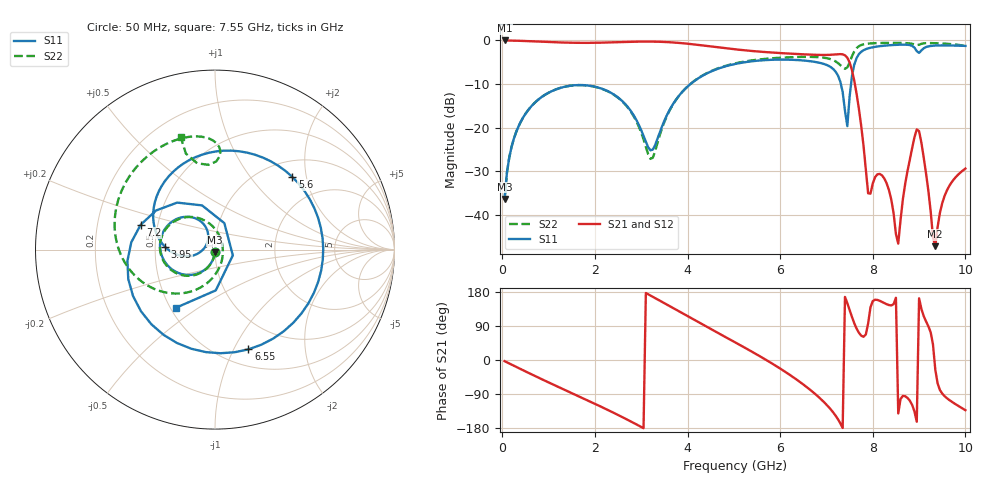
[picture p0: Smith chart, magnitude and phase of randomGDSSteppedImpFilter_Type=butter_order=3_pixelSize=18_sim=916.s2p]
! freq	dB(S11)	phase(S11)	dB(S12)	phase(S12)
!  dB(S21)	phase(S21)	dB(S22)	phase(S22)
!S-par simulation data
#  GHz  S  DB  R 50
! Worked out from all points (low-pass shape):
!   200 points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, 50 MHz to 10 GHz, reference 50 ohm
!   highest |S21| = -0.01 dB at 50 MHz (marker M1); lowest = -47.1 dB at 9.35 GHz (marker M2)
!   |S21| within 3 dB of the highest: start of sweep to 6.186 GHz
!   lowest |S11| = -36.3 dB at 50 MHz (marker M3), VSWR 1.03, Z = 49.9 - j1.53 ohm
!   |S11| at or under -10 dB: start of sweep to 4.062 GHz; 7.311 GHz to 7.531 GHz (219.4 MHz wide, 2.96 % of centre)
!   |S22| runs from -36.3 to -0.6 dB; largest |S21 - S12| = 0
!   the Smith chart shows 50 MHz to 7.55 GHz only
!   S11 on the Smith chart (normalised r, x): 50 MHz: 1.00, -0.03; 3.95 GHz: 0.56, +0.02; 5.6 GHz: 1.34, +1.66; 6.55 GHz: 0.68, -1.14; 7.2 GHz: 0.40, +0.14; 7.55 GHz: 0.54, -0.41
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0.05  -36.30 -92.9  -0.01 -3.1  -0.01 -3.1  -36.29 -92.7
0.5  -16.81 -121.2  -0.13 -30.1  -0.13 -30.1  -16.82 -119.9
1.75  -10.24 166.4  -0.56 -101.5  -0.56 -101.5  -10.25 169.8
2.65  -14.52 118.7  -0.35 -154.3  -0.35 -154.3  -14.63 113.7
3.2  -25.18 148.0  -0.26 170.1  -0.26 170.1  -27.14 11.9
3.4  -21.08 -169.1  -0.31 156.7  -0.31 156.7  -21.71 -65.6
3.95  -11.08 176.7  -0.70 119.1  -0.70 119.1  -11.07 -122.0
5.05  -5.34 93.6  -2.06 45.1  -2.06 45.1  -5.21 175.7
5.6  -4.56 43.1  -2.60 7.2  -2.60 7.2  -4.30 150.9
6.55  -4.64 -71.5  -3.21 -69.2  -3.21 -69.2  -3.76 112.7
6.7  -4.83 -95.1  -3.27 -83.9  -3.27 -83.9  -3.78 106.8
7.2  -7.19 161.6  -3.20 -147.4  -3.20 -147.4  -4.82 87.8
7.45  -19.63 -17.9  -3.95 150.1  -3.95 150.1  -6.17 101.7
7.55  -8.20 -123.8  -6.78 113.8  -6.78 113.8  -3.65 106.9
7.7  -3.15 169.4  -15.64 71.9  -15.64 71.9  -1.32 92.5
7.9  -1.82 115.5  -35.01 96.4  -35.01 96.4  -0.73 75.2
8.35  -1.11 39.6  -34.30 145.0  -34.30 145.0  -0.56 48.4
8.55  -0.99 14.1  -46.53 -141.0  -46.53 -141.0  -0.56 37.8
9  -2.85 -29.0  -20.78 162.9  -20.78 162.9  -0.98 17.3
9.35  -1.18 -55.0  -47.12 -25.4  -47.12 -25.4  -0.63 -2.5
9.55  -1.14 -70.7  -35.62 -95.3  -35.62 -95.3  -0.73 -14.7
10  -1.25 -102.3  -29.35 -132.5  -29.35 -132.5  -1.27 -49.6
